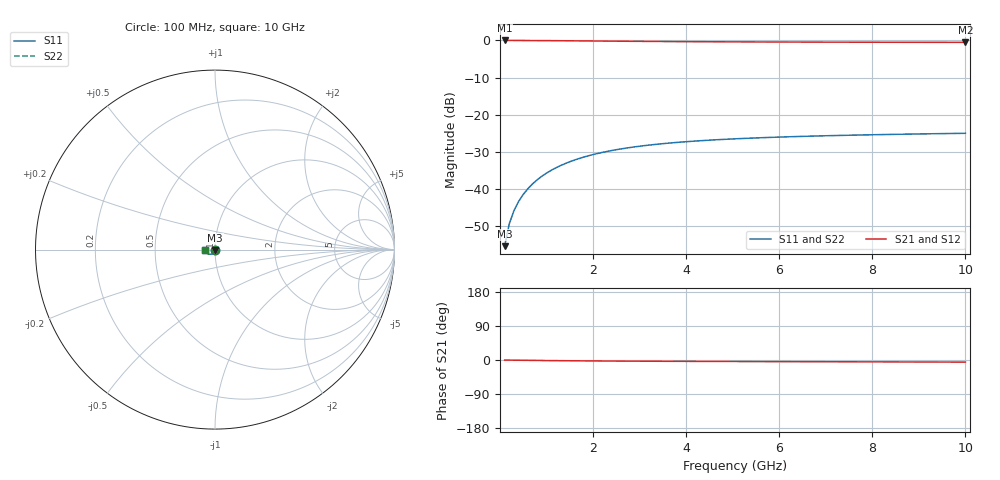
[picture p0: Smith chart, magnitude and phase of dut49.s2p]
! Touchstone file exported from HFSS 2024.1.0
!  File:  C:/UserFiles/LocalFiles/RDL_TSV_Batchsim/temp_TSV1_49_1779371843.aedt
!  Generated:  10:04:53 PM May 21, 2026
!  Design:  TSV1
!  Project:  temp_TSV1_49_1779371843
!  Setup:  Setup1
!  Solution:  Sweep
! Variables:
!  dtsv = 13.18um
!  hbump = 3um
!  htsv = 86.17um
!  lrdl = 252.1521522um
!  p = 40
!  p1 = 57.06um
!  t = 500um
!  trdl = 3um
!  wrdl = 24.89489489um
# GHz S MA R 50.000000
! Terminal data exported
! Port[1] = TSV22_T1
! Port[2] = TSV22_T2
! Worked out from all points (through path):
!   100 points, 100 MHz to 10 GHz, reference 50 ohm
!   highest |S21| = 0.00 dB at 100 MHz (marker M1); lowest = -0.5 dB at 10 GHz (marker M2)
!   lowest |S11| = -55.4 dB at 100 MHz (marker M3), VSWR 1.00, Z = 50 - j0.171 ohm
!   |S11| at or under -10 dB: start of sweep to end of sweep
!   |S22| runs from -55.4 to -25.0 dB; largest |S21 - S12| = 9.1e-15
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0.1  0.001706 -88.9  0.9998 -0.2  0.9998 -0.2  0.001706 -88.9
! Gamma 0 0 0 0
! Port Impedance 50 0 50 0
0.2  0.003408 -92.2  0.9997 -0.3  0.9997 -0.3  0.003408 -92.2
0.3  0.005106 -94.5  0.9994 -0.5  0.9994 -0.5  0.005106 -94.5
0.4  0.006794 -96.7  0.9989 -0.6  0.9989 -0.6  0.006794 -96.7
0.5  0.008466 -98.8  0.9984 -0.8  0.9984 -0.8  0.008466 -98.8
0.6  0.01011 -100.8  0.9978 -0.9  0.9978 -0.9  0.01011 -100.8
0.7  0.01173 -102.7  0.9971 -1.0  0.9971 -1.0  0.01173 -102.7
0.8  0.01332 -104.6  0.9963 -1.2  0.9963 -1.2  0.01332 -104.6
0.9  0.01488 -106.5  0.9955 -1.3  0.9955 -1.3  0.01488 -106.5
1.1  0.01786 -110.2  0.9936 -1.6  0.9936 -1.6  0.01786 -110.2
1.4  0.02202 -115.3  0.9904 -1.9  0.9904 -1.9  0.02202 -115.3
1.6  0.02457 -118.6  0.9881 -2.1  0.9881 -2.1  0.02457 -118.6
1.8  0.02694 -121.6  0.9858 -2.3  0.9858 -2.3  0.02694 -121.6
2.1  0.03016 -126.0  0.9823 -2.5  0.9823 -2.5  0.03016 -126.0
2.5  0.03388 -131.2  0.9778 -2.8  0.9778 -2.8  0.03388 -131.2
2.9  0.03702 -135.9  0.9736 -3.1  0.9736 -3.1  0.03702 -135.9
3.4  0.04027 -141.1  0.9688 -3.3  0.9688 -3.3  0.04027 -141.1
4.2  0.0443 -148.1  0.9625 -3.6  0.9625 -3.6  0.0443 -148.1
5.1  0.04761 -154.6  0.957 -4.0  0.957 -4.0  0.04761 -154.6
6.7  0.05161 -163.8  0.9502 -4.5  0.9502 -4.5  0.05161 -163.8
8.4  0.0544 -171.4  0.9455 -5.0  0.9455 -5.0  0.0544 -171.4
10  0.05633 -177.3  0.9425 -5.6  0.9425 -5.6  0.05633 -177.3
